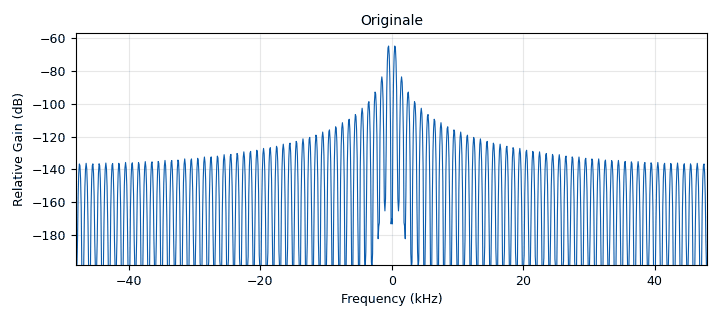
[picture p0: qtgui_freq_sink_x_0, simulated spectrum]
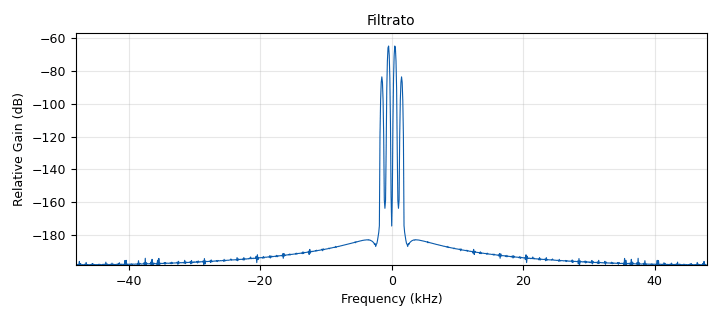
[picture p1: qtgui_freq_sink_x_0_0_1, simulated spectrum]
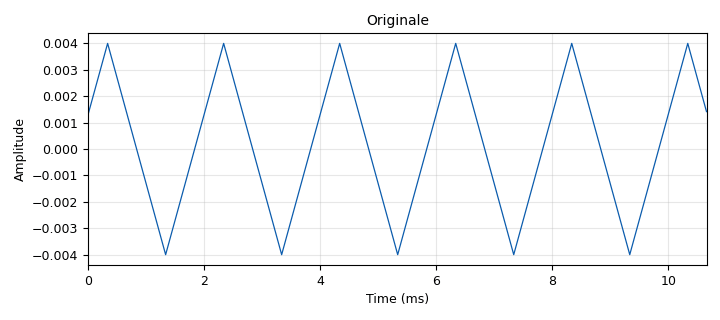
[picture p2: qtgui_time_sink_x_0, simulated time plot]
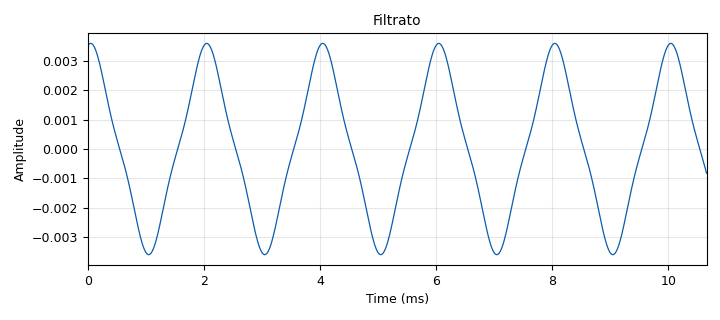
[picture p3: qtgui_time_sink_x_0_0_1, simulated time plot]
options:
  parameters:
    generate_options: qt_gui
    id: TriangolareFiltro99
    output_language: python
    title: Not titled yet
  states: {}

blocks:
- name: S_Signal_0
  id: variable_function_probe
  parameters:
    block_id: Signal_0
    function_name: level
    poll_rate: '2'
    value: '0'
  states: {}
- name: S_Signal_1
  id: variable_function_probe
  parameters:
    block_id: Signal_1
    function_name: level
    poll_rate: '2'
    value: '0'
  states: {}
- name: samp_rate
  id: variable
  parameters:
    value: '96000'
  states: {}
- name: variable_qtgui_label_0_0_0
  id: variable_qtgui_label
  parameters:
    label: 'Power signal: '
    type: real
    value: S_Signal_0 / 2
  states: {}
- name: variable_qtgui_label_0_0_0_0
  id: variable_qtgui_label
  parameters:
    label: 'Power signal filter: '
    type: real
    value: S_Signal_1 / 2
  states: {}
- name: Signal_0
  id: blocks_probe_signal_x
  parameters:
    type: float
  states: {}
- name: Signal_1
  id: blocks_probe_signal_x
  parameters:
    type: float
  states: {}
- name: analog_sig_source_x_0
  id: analog_sig_source_x
  parameters:
    amp: '0.008'
    freq: '500'
    offset: '0'
    phase: '3.14159265358979323846264338327950288419716939937510'
    samp_rate: samp_rate
    type: float
    waveform: analog.GR_TRI_WAVE
  states: {}
- name: analog_sig_source_x_0_0
  id: analog_sig_source_x
  parameters:
    amp: '0.008'
    freq: '500'
    offset: '0'
    phase: '3.14159265358979323846264338327950288419716939937510'
    samp_rate: samp_rate
    type: complex
    waveform: analog.GR_TRI_WAVE
  states: {}
- name: analog_sig_source_x_1
  id: analog_sig_source_x
  parameters:
    amp: '0.004'
    freq: '500'
    offset: '0'
    phase: '3.14159265358979323846264338327950288419716939937510'
    samp_rate: samp_rate
    type: float
    waveform: analog.GR_SQR_WAVE
  states: {}
- name: analog_sig_source_x_1_0
  id: analog_sig_source_x
  parameters:
    amp: '0.004'
    freq: '500'
    offset: '0'
    phase: '3.14159265358979323846264338327950288419716939937510'
    samp_rate: samp_rate
    type: complex
    waveform: analog.GR_SQR_WAVE
  states: {}
- name: analog_sig_source_x_2
  id: analog_sig_source_x
  parameters:
    amp: '0.004'
    freq: '500'
    offset: '0'
    phase: '0'
    samp_rate: samp_rate
    type: float
    waveform: analog.GR_SQR_WAVE
  states: {}
- name: analog_sig_source_x_2_0
  id: analog_sig_source_x
  parameters:
    amp: '0.004'
    freq: '500'
    offset: '0'
    phase: '0'
    samp_rate: samp_rate
    type: complex
    waveform: analog.GR_SQR_WAVE
  states: {}
- name: blocks_add_xx_0
  id: blocks_add_xx
  parameters:
    type: float
  states: {}
- name: blocks_add_xx_1
  id: blocks_add_xx
  parameters:
    type: complex
  states: {}
- name: blocks_complex_to_mag_squared_0_0
  id: blocks_complex_to_mag_squared
  parameters: {}
  states: {}
- name: blocks_complex_to_mag_squared_0_0_0
  id: blocks_complex_to_mag_squared
  parameters: {}
  states: {}
- name: blocks_moving_average_xx_0_0
  id: blocks_moving_average_xx
  parameters:
    length: '50000'
    max_iter: '4000'
    scale: '0.00002'
    type: float
  states: {}
- name: blocks_moving_average_xx_0_0_0
  id: blocks_moving_average_xx
  parameters:
    length: '50000'
    max_iter: '4000'
    scale: '0.00002'
    type: float
  states: {}
- name: blocks_sub_xx_0
  id: blocks_sub_xx
  parameters:
    type: float
  states: {}
- name: blocks_sub_xx_1
  id: blocks_sub_xx
  parameters:
    type: complex
  states: {}
- name: blocks_throttle_0_1_0
  id: blocks_throttle
  parameters:
    samples_per_second: samp_rate
    type: float
  states: {}
- name: blocks_throttle_0_1_0_0
  id: blocks_throttle
  parameters:
    samples_per_second: samp_rate
    type: complex
  states: {}
- name: low_pass_filter_0
  id: low_pass_filter
  parameters:
    cutoff_freq: '1600'
    decim: '1'
    gain: '1'
    samp_rate: samp_rate
    type: fir_filter_fff
    width: '1'
    win: window.WIN_HAMMING
  states: {}
- name: low_pass_filter_0_0
  id: low_pass_filter
  parameters:
    cutoff_freq: '1600'
    decim: '1'
    gain: '1'
    samp_rate: samp_rate
    type: fir_filter_ccf
    width: '1'
    win: window.WIN_HAMMING
  states: {}
- name: qtgui_freq_sink_x_0
  id: qtgui_freq_sink_x
  parameters:
    autoscale: 'True'
    bw: samp_rate
    fc: '0'
    fftsize: '1024'
    name: Originale
    type: float
  states: {}
- name: qtgui_freq_sink_x_0_0_1
  id: qtgui_freq_sink_x
  parameters:
    autoscale: 'True'
    bw: samp_rate
    fc: '0'
    fftsize: '1024'
    name: Filtrato
    type: float
  states: {}
- name: qtgui_time_sink_x_0
  id: qtgui_time_sink_x
  parameters:
    autoscale: 'True'
    name: Originale
    size: '1024'
    srate: samp_rate
    type: float
  states: {}
- name: qtgui_time_sink_x_0_0_1
  id: qtgui_time_sink_x
  parameters:
    autoscale: 'True'
    name: Filtrato
    size: '1024'
    srate: samp_rate
    type: float
  states: {}

connections:
- [analog_sig_source_x_0, '0', blocks_sub_xx_0, '0']
- [analog_sig_source_x_0_0, '0', blocks_sub_xx_1, '0']
- [analog_sig_source_x_1, '0', blocks_add_xx_0, '1']
- [analog_sig_source_x_1_0, '0', blocks_add_xx_1, '1']
- [analog_sig_source_x_2, '0', blocks_add_xx_0, '0']
- [analog_sig_source_x_2_0, '0', blocks_add_xx_1, '0']
- [blocks_add_xx_0, '0', blocks_sub_xx_0, '1']
- [blocks_add_xx_1, '0', blocks_sub_xx_1, '1']
- [blocks_complex_to_mag_squared_0_0, '0', blocks_moving_average_xx_0_0, '0']
- [blocks_complex_to_mag_squared_0_0_0, '0', blocks_moving_average_xx_0_0_0, '0']
- [blocks_moving_average_xx_0_0, '0', Signal_0, '0']
- [blocks_moving_average_xx_0_0_0, '0', Signal_1, '0']
- [blocks_sub_xx_0, '0', blocks_throttle_0_1_0, '0']
- [blocks_sub_xx_1, '0', blocks_throttle_0_1_0_0, '0']
- [blocks_throttle_0_1_0, '0', low_pass_filter_0, '0']
- [blocks_throttle_0_1_0, '0', qtgui_freq_sink_x_0, '0']
- [blocks_throttle_0_1_0, '0', qtgui_time_sink_x_0, '0']
- [blocks_throttle_0_1_0_0, '0', blocks_complex_to_mag_squared_0_0, '0']
- [blocks_throttle_0_1_0_0, '0', low_pass_filter_0_0, '0']
- [low_pass_filter_0, '0', qtgui_freq_sink_x_0_0_1, '0']
- [low_pass_filter_0, '0', qtgui_time_sink_x_0_0_1, '0']
- [low_pass_filter_0_0, '0', blocks_complex_to_mag_squared_0_0_0, '0']

metadata:
  file_format: 1
  grc_version: 3.10.6.0
